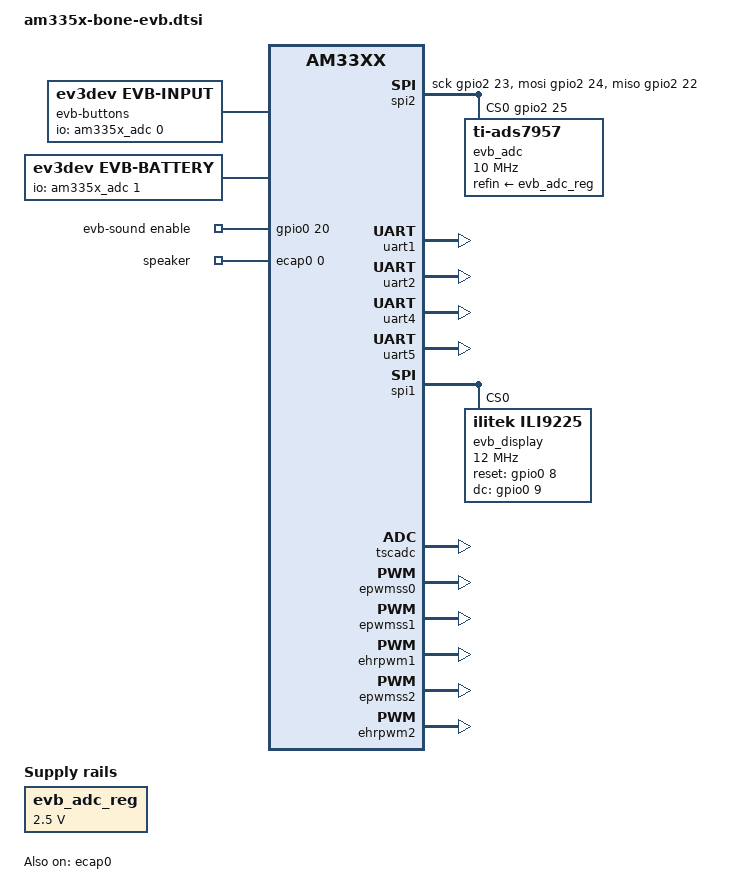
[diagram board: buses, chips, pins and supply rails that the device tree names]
/*
 * Device tree for BeagleBone Black + FatcatLab EVB + ev3dev
 *
 * Copyright (C) 2016 David Lechner <david@lechnology.com>
 *
 * Based on am335x-boneblack-overlay.dts (HDMI Audio/Video and eMMC disabled)
 * Copyright (C) 2012 Texas Instruments Incorporated - http://www.ti.com/
 *
 * This program is free software; you can redistribute it and/or modify
 * it under the terms of the GNU General Public License version 2 as
 * published by the Free Software Foundation.
 */

#include "am33xx.dtsi"
#include "am335x-bone-common-no-capemgr.dtsi"
#include <dt-bindings/board/am335x-bbw-bbb-base.h>
#include <dt-bindings/pinctrl/am33xx.h>
#include <dt-bindings/pwm/pwm.h>

/ {
	evb_adc_reg: evb-adc-regulator {
		compatible = "regulator-fixed";
		/* This "regulator" is just a voltage divider on the main 5V supply */
		regulator-name = "evb-adc-regulator";
		regulator-min-microvolt = <2500000>;
		regulator-max-microvolt = <2500000>;
		regulator-always-on;
	};

	spi2: evb-bitbang-spi {
		pinctrl-names = "default";
		pinctrl-0 = <&spi2_pins>;

		compatible = "spi-gpio";
		#address-cells = <1>;
		#size-cells = <0>;

		gpio-sck = <&gpio2 23 0>;
		gpio-miso = <&gpio2 22 0>;
		gpio-mosi = <&gpio2 24 0>;
		cs-gpios = <&gpio2 25 0>;
		num-chipselects = <1>;

		evb_adc: adc@0 {
			compatible = "ti-ads7957";
			reg = <0>;
			spi-max-frequency = <10000000>;
			refin-supply = <&evb_adc_reg>;

			#io-channel-cells = <1>;

			/* CH0:  ADCMA		(outA pin5)		*/
			/* CH1:  ADCMB		(outB pin5)		*/
			/* CH2:  ADCMC		(outC pin5)		*/
			/* CH3:  ADCMD		(outD pin5)		*/
			/* CH4:  N/C					*/
			/* CH5:  N/C					*/
			/* CH6:  ADC_I		(battery current)	*/
			/* CH7:  ADCBATROW	(battery voltage)	*/
			/* CH8:  ADC_D1		(in4 pin6)		*/
			/* CH9:  ADC_D0		(in4 pin1)		*/
			/* CH10: ADC_C1		(in3 pin6)		*/
			/* CH11: ADC_C0		(in3 pin1)		*/
			/* CH12: ADC_B0		(in2 pin1)		*/
			/* CH13: ADC_B1		(in2 pin6)		*/
			/* CH14: ADC_A0		(in1 pin1)		*/
			/* CH15: ADC_A1		(in1 pin6)		*/
		};
	};

	evb-buttons {
		compatible = "ev3dev,evb-input";
		io-channels = <&am335x_adc 0>;
		io-channel-names = "voltage";
	};

	evb-battery {
		pinctrl-names = "default";
		pinctrl-0 = <&evb_battery_pins>;

		compatible = "ev3dev,evb-battery";
		io-channels = <&am335x_adc 1>;
		io-channel-names = "voltage";
	};

	evb-ports {
		compatible = "ev3dev,evb-ports";

		in1 {
			pinctrl-names = "default";
			pinctrl-0 = <&in1_pins>;

			compatible = "ev3dev,evb-input-port";
			io-channels = <&evb_adc 14>, <&evb_adc 15>;
			io-channel-names = "pin1", "pin6";
			pin5-gpios = <&gpio1 28 0>;
			pin6-gpios = <&gpio1 18 0>;
			buf-ena-gpios = <&gpio1 19 GPIO_ACTIVE_LOW>;
			ev3dev,tty-name = "ttyS4";
		};

		in2 {
			pinctrl-names = "default";
			pinctrl-0 = <&in2_pins>;

			compatible = "ev3dev,evb-input-port";
			io-channels = <&evb_adc 12>, <&evb_adc 13>;
			io-channel-names = "pin1", "pin6";
			pin5-gpios = <&gpio1 16 0>;
			pin6-gpios = <&gpio0 5 0>;
			buf-ena-gpios = <&gpio0 4 GPIO_ACTIVE_LOW>;
			ev3dev,tty-name = "ttyS2";
		};

		in3 {
			pinctrl-names = "default";
			pinctrl-0 = <&in3_pins>;

			compatible = "ev3dev,evb-input-port";
			io-channels = <&evb_adc 11>, <&evb_adc 10>;
			io-channel-names = "pin1", "pin6";
			pin5-gpios = <&gpio0 12 0>;
			pin6-gpios = <&gpio0 13 0>;
			buf-ena-gpios = <&gpio3 19 GPIO_ACTIVE_LOW>;
			ev3dev,tty-name = "ttyS1";
		};

		in4 {
			pinctrl-names = "default";
			pinctrl-0 = <&in4_pins>;

			compatible = "ev3dev,evb-input-port";
			io-channels = <&evb_adc 9>, <&evb_adc 8>;
			io-channel-names = "pin1", "pin6";
			pin5-gpios = <&gpio3 21 0>;
			pin6-gpios = <&gpio1 17 0>;
			buf-ena-gpios = <&gpio3 5 GPIO_ACTIVE_LOW>;
			ev3dev,tty-name = "ttyS5";
		};

		outA {
			pinctrl-names = "default";
			pinctrl-0 = <&outA_pins>;

			compatible = "ev3dev,evb-output-port";
			io-channels = <&evb_adc 0>;
			io-channel-names = "pin5";
			pin1-gpios = <&gpio2 2 0>;
			pin2-gpios = <&gpio2 5 0>;
			pin5-det-gpios = <&gpio1 7 0>;
			pin5-gpios = <&gpio2 3 0>;
			pin6-gpios = <&gpio2 4 0>;
			pwms = <&ehrpwm2 1 0 PWM_POLARITY_INVERTED>;
			pwm-names = "motor";
		};

		outB {
			pinctrl-names = "default";
			pinctrl-0 = <&outB_pins>;

			compatible = "ev3dev,evb-output-port";
			io-channels = <&evb_adc 1>;
			io-channel-names = "pin5";
			pin1-gpios = <&gpio1 13 0>;
			pin2-gpios = <&gpio1 15 0>;
			pin5-det-gpios = <&gpio1 3 0>;
			pin5-gpios = <&gpio1 12 0>;
			pin6-gpios = <&gpio0 26 0>;
			pwms = <&ehrpwm2 0 0 PWM_POLARITY_INVERTED>;
			pwm-names = "motor";
		};

		outC {
			pinctrl-names = "default";
			pinctrl-0 = <&outC_pins>;

			compatible = "ev3dev,evb-output-port";
			io-channels = <&evb_adc 2>;
			io-channel-names = "pin5";
			pin1-gpios = <&gpio2 12 0>;
			pin2-gpios = <&gpio2 13 0>;
			pin5-det-gpios = <&gpio1 29 0>;
			pin5-gpios = <&gpio1 31 0>;
			pin6-gpios = <&gpio0 27 0>;
			pwms = <&ehrpwm1 1 0 PWM_POLARITY_INVERTED>;
			pwm-names = "motor";
		};

		outD {
			pinctrl-names = "default";
			pinctrl-0 = <&outD_pins>;

			compatible = "ev3dev,evb-output-port";
			io-channels = <&evb_adc 3>;
			io-channel-names = "pin5";
			pin1-gpios = <&gpio2 8 0>;
			pin2-gpios = <&gpio2 7 0>;
			pin5-det-gpios = <&gpio2 10 0>;
			pin5-gpios = <&gpio2 9 0>;
			pin6-gpios = <&gpio2 11 0>;
			pwms = <&ehrpwm1 0 0 PWM_POLARITY_INVERTED>;
			pwm-names = "motor";
		};
	};

	evb-sound {
		pinctrl-names = "default";
		pinctrl-0 = <&evb_sound_pins>;

		compatible = "ev3dev,evb-sound";
		enable-gpios = <&gpio0 20 0>;
		pwms = <&ecap0 0 0 PWM_POLARITY_INVERTED>;
		pwm-names = "speaker";
	};

	evb-system-info {
		compatible = "ev3dev,evb-system-info";
		nvmem-cells = <&baseboard_data>;
		nvmem-cell-names = "baseboard";
	};
};

&am33xx_pinmux {
	/* Input port 1 */

	in1_pins: pinmux_in1_pins {
		pinctrl-single,pins = <
			BONE_P9_12 (PIN_INPUT  | MUX_MODE7) /* gpio1[28] - DIGIA0 */
			BONE_P9_14 (PIN_INPUT  | MUX_MODE7) /* gpio1[18] - DIGIA1 */
			BONE_P9_16 (PIN_OUTPUT | MUX_MODE7) /* gpio1[19] - BUFDISA */
		>;
	};

	uart4_pins: pinmux_uart4_pins {
		pinctrl-single,pins = <
			BONE_P9_13 (PIN_OUTPUT | MUX_MODE6) /* uart4_txd - TXINA */
			BONE_P9_11 (PIN_INPUT  | MUX_MODE6) /* uart4_rxd - RXINA */
		>;
	};

	/* Input port 2 */

	in2_pins: pinmux_in2_pins {
		pinctrl-single,pins = <
			BONE_P9_15 (PIN_INPUT  | MUX_MODE7) /* gpio1[16] - DIGIB0 */
			BONE_P9_17 (PIN_INPUT  | MUX_MODE7) /* gpio0[5]  - DIGIB1 */
			BONE_P9_18 (PIN_OUTPUT | MUX_MODE7) /* gpio0[5]  - BUFDISB */
		>;
	};

	uart2_pins: pinmux_uart2_pins {
		pinctrl-single,pins = <
			BONE_P9_21 (PIN_OUTPUT | MUX_MODE1) /* uart2_txd - TXINB */
			BONE_P9_22 (PIN_INPUT  | MUX_MODE1) /* uart2_rxd - RXINB */
		>;
	};

	/* Input port 3 */

	in3_pins: pinmux_in3_pins {
		pinctrl-single,pins = <
			BONE_P9_20 (PIN_INPUT  | MUX_MODE7) /* gpio0[12] - DIGIC0 */
			BONE_P9_19 (PIN_INPUT  | MUX_MODE7) /* gpio0[13] - DIGIC1 */
			BONE_P9_27 (PIN_OUTPUT | MUX_MODE7) /* gpio3[19] - BUFDISC */
		>;
	};

	uart1_pins: pinmux_uart1_pins {
		pinctrl-single,pins = <
			BONE_P9_24 (PIN_OUTPUT | MUX_MODE0) /* uart1_txd - TXINC */
			BONE_P9_26 (PIN_INPUT  | MUX_MODE0) /* uart1_rxd - RXINC */
		>;
	};

	/* Input port 4 */

	in4_pins: pinmux_in4_pins {
		pinctrl-single,pins = <
			BONE_P9_25 (PIN_INPUT  | MUX_MODE7) /* gpio3[21] - DIGID0 */
			BONE_P9_23 (PIN_INPUT  | MUX_MODE7) /* gpio1[17] - DIGID1 */
			BONE_P9_29 (PIN_OUTPUT | MUX_MODE7) /* gpio3[5]  - BUFDISD */
		>;
	};

	uart5_pins: pinmux_uart5_pins {
		pinctrl-single,pins = <
			BONE_P8_37 (PIN_OUTPUT | MUX_MODE4) /* uart5_txd - RXIND */
			BONE_P8_38 (PIN_INPUT  | MUX_MODE4) /* uart5_rxd - TXIND */
		>;
	};

	/* Output port A */

	outA_pins: pinmux_outA_pins {
		pinctrl-single,pins = <
			BONE_P8_07 (PIN_OUTPUT | MUX_MODE7) /* gpio2[2] - MAIN0 */
			BONE_P8_09 (PIN_OUTPUT | MUX_MODE7) /* gpio2[5] - MAIN1 */
			BONE_P8_04 (PIN_OUTPUT | MUX_MODE7) /* gpio1[7] - DETA  */
			BONE_P8_08 (PIN_INPUT  | MUX_MODE7) /* gpio2[3] - INTA  */
			BONE_P8_10 (PIN_INPUT  | MUX_MODE7) /* gpio2[4] - DIRA  */
			BONE_P8_13 (PIN_OUTPUT | MUX_MODE4) /* ehrpwm2B - MAPWM */
		>;
	};

	/* Output port B */

	outB_pins: pinmux_outB_pins {
		pinctrl-single,pins = <
			BONE_P8_11 (PIN_OUTPUT | MUX_MODE7) /* gpio1[13] - MBIN0 */
			BONE_P8_15 (PIN_OUTPUT | MUX_MODE7) /* gpio1[15] - MBIN1 */
			BONE_P8_06 (PIN_OUTPUT | MUX_MODE7) /* gpio1[3]  - DETB  */
			BONE_P8_12 (PIN_INPUT  | MUX_MODE7) /* gpio1[12] - INTB  */
			BONE_P8_14 (PIN_INPUT  | MUX_MODE7) /* gpio0[26] - DIRB  */
			BONE_P8_19 (PIN_OUTPUT | MUX_MODE4) /* ehrpwm2A  - MBPWM */
		>;
	};

	/* Output port C */

	outC_pins: pinmux_outC_pins {
		pinctrl-single,pins = <
			BONE_P8_39 (PIN_OUTPUT | MUX_MODE7) /* gpio2[12] - MCIN0 */
			BONE_P8_40 (PIN_OUTPUT | MUX_MODE7) /* gpio2[13] - MCIN1 */
			BONE_P8_26 (PIN_OUTPUT | MUX_MODE7) /* gpio1[29] - DETC  */
			BONE_P8_20 (PIN_INPUT  | MUX_MODE7) /* gpio1[31] - INTC  */
			BONE_P8_17 (PIN_INPUT  | MUX_MODE7) /* gpio0[27] - DIRC  */
			BONE_P8_34 (PIN_OUTPUT | MUX_MODE2) /* ehrpwm1B  - MCPWM */
		>;
	};

	/* Output port D */

	outD_pins: pinmux_outD_pins {
		pinctrl-single,pins = <
			BONE_P8_43 (PIN_OUTPUT | MUX_MODE7) /* gpio2[8]  - MDIN0 */
			BONE_P8_46 (PIN_OUTPUT | MUX_MODE7) /* gpio2[7]  - MDIN1 */
			BONE_P8_41 (PIN_OUTPUT | MUX_MODE7) /* gpio2[10] - DETD  */
			BONE_P8_44 (PIN_INPUT  | MUX_MODE7) /* gpio2[0]  - INTD  */
			BONE_P8_42 (PIN_INPUT  | MUX_MODE7) /* gpio2[11] - DIRD  */
			BONE_P8_36 (PIN_OUTPUT | MUX_MODE2) /* ehrpwm1A  - MDPWM */
		>;
	};

	/* Display */

	spi1_pins: pinmux_spi1_pins {
		pinctrl-single,pins = <
			BONE_P9_31 (PIN_OUTPUT_PULLUP | MUX_MODE3) /* spi1_sclk - FBCLK  */
			BONE_P9_30 (PIN_OUTPUT_PULLUP | MUX_MODE3) /* spi1_d1   - FBMOSI */
			BONE_P9_28 (PIN_OUTPUT_PULLUP | MUX_MODE3) /* spi1_cs0  - FBCS   */
			BONE_P8_33 (PIN_OUTPUT_PULLUP | MUX_MODE7) /* gpio0[9]  - FBDC   */
			BONE_P8_35 (PIN_OUTPUT_PULLUP | MUX_MODE7) /* gpio0[8]  - FBRST  */
		>;
	};

	/* ADC */

	spi2_pins: pinmux_spi2_pins {
		pinctrl-single,pins = <
			BONE_P8_25 (PIN_OUTPUT          | MUX_MODE7) /* gpio1[0]  - ADCACK  */
			BONE_P8_27 (PIN_INPUT_PULLUP    | MUX_MODE7) /* gpio2[22] - ADCMISO */
			BONE_P8_28 (PIN_OUTPUT_PULLDOWN | MUX_MODE7) /* gpio2[24] - ADCMOSI */
			BONE_P8_29 (PIN_OUTPUT_PULLDOWN | MUX_MODE7) /* gpio2[23] - ADCCLK  */
			BONE_P8_30 (PIN_OUTPUT_PULLUP   | MUX_MODE7) /* gpio2[25] - ADCCS   */
		>;
	};

	/* Other */

	evb_battery_pins: evb_pinmux_battery_pins {
		pinctrl-single,pins = <
			BONE_P8_23 (PIN_OUTPUT | MUX_MODE7) /* gpio1[4] - ADCBATEN */
		>;
	};

	evb_sound_pins: pinmux_evb_sound_pins {
		pinctrl-single,pins = <
			/*
			 * The *B pins are actually not used, but they are physically
			 * connected to the *A pins, so must be configured to not
			 * interfere.
			 */
			BONE_P9_41A (PIN_OUTPUT | MUX_MODE7) /* gpio0[20]  - SOUNDEN   */
			BONE_P9_41B (PIN_OUTPUT | MUX_MODE7) /* gpio3[20]  - SOUNDEN   */
			BONE_P9_42A (PIN_OUTPUT | MUX_MODE0) /* ecap0_pwm0 - SOUNDARMA */
			BONE_P9_42B (PIN_OUTPUT | MUX_MODE7) /* gpio3[18]  - SOUNDARMA */
		>;
	};
};

&uart1 {
	pinctrl-names = "default";
	pinctrl-0 = <&uart1_pins>;

	status = "okay";
};

&uart2 {
	pinctrl-names = "default";
	pinctrl-0 = <&uart2_pins>;

	status = "okay";
};

&uart4 {
	pinctrl-names = "default";
	pinctrl-0 = <&uart4_pins>;

	status = "okay";
};

&uart5 {
	pinctrl-names = "default";
	pinctrl-0 = <&uart5_pins>;

	status = "okay";
};

&spi1 {
	status = "okay";

	evb_display: evb_display@0 {
		compatible = "ilitek,ili9225";
		reg = <0>;
		pinctrl-names = "default";
		pinctrl-0 = <&spi1_pins>;

		rotate = <270>;
		spi-max-frequency = <12000000>;
		bgr;
		reset-gpios = <&gpio0 8 0>;
		dc-gpios = <&gpio0 9 0>;
		debug = <0>;

		init = <
			0x1000001 0x01 0x1C
			0x1000002 0x01 0x00
			0x1000008 0x08 0x08
			0x100000C 0x00 0x00
			0x100000F 0x0E 0x01
			0x2000032
			0x1000010 0x09 0x00
			0x1000011 0x10 0x38
			0x2000032
			0x1000012 0x11 0x21
			0x1000013 0x00 0x65
			0x1000014 0x50 0x58
			0x1000030 0x00 0x00
			0x1000031 0x00 0xDB
			0x1000032 0x00 0x00
			0x1000033 0x00 0x00
			0x1000034 0x00 0xDB
			0x1000035 0x00 0x00
			0x1000036 0x00 0xAF
			0x1000037 0x00 0x00
			0x1000038 0x00 0xDB
			0x1000039 0x00 0x00
			0x2000032
			0x1000007 0x10 0x17
			0x2000032
		>;
	};
};

&tscadc {
	/* Used for analog inputs */
	status = "okay";
};

&am335x_adc {
	/* AIN0: buttons */
	/* AIN1: battery */
	ti,adc-channels = <0 1>;
};

&epwmss0 {
	/* Used for ecap0 */
	status = "okay";
};

&ecap0 {
	/* Used for sound PWM */
	status = "okay";
};

&epwmss1 {
	/* Used for ehrpwm1 */
	status = "okay";
};

&ehrpwm1 {
	/* Used for motor PWM */
	status = "okay";
};

&epwmss2 {
	/* Used for ehrpwm2 */
	status = "okay";
};

&ehrpwm2 {
	/* Used for motor PWM */
	status = "okay";
};
